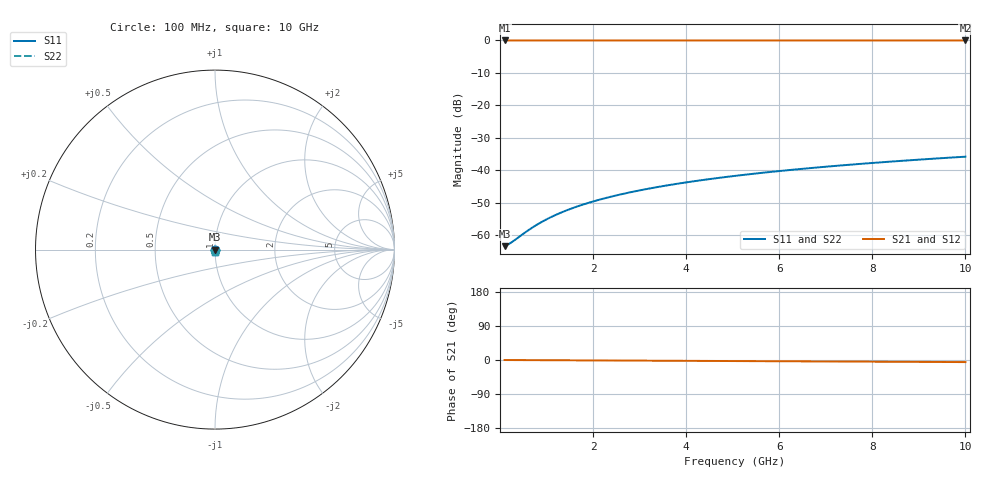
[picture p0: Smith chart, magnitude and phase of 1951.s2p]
# Hz S RI R 50.00
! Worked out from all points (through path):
!   100 points, 100 MHz to 10 GHz, reference 50 ohm
!   highest |S21| = -0.01 dB at 100 MHz (marker M1); lowest = 0.0 dB at 10 GHz (marker M2)
!   lowest |S11| = -63.4 dB at 100 MHz (marker M3), VSWR 1.00, Z = 50.1 - j0.0162 ohm
!   |S11| at or under -10 dB: start of sweep to end of sweep
!   |S22| runs from -63.4 to -35.8 dB; largest |S21 - S12| = 0
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1e8  0.000653 -0.000161  0.9993 -0.000964  0.9993 -0.000964  0.000653 -0.000161
2e8  0.000657 -0.000323  0.9993 -0.00193  0.9993 -0.00193  0.000657 -0.000323
3e8  0.000658 -0.000484  0.9993 -0.00289  0.9993 -0.00289  0.000658 -0.000484
6e8  0.00066 -0.000969  0.9993 -0.00579  0.9993 -0.00579  0.00066 -0.000969
7e8  0.000659 -0.00113  0.9993 -0.00675  0.9993 -0.00675  0.000659 -0.00113
8e8  0.000658 -0.00129  0.9993 -0.00771  0.9993 -0.00771  0.000658 -0.00129
1e9  0.000654 -0.00161  0.9993 -0.00964  0.9993 -0.00964  0.000654 -0.00161
1.2e9  0.000649 -0.00194  0.9992 -0.0116  0.9992 -0.0116  0.000649 -0.00194
1.4e9  0.000642 -0.00226  0.9992 -0.0135  0.9992 -0.0135  0.000642 -0.00226
1.6e9  0.000634 -0.00258  0.9992 -0.0154  0.9992 -0.0154  0.000634 -0.00258
1.8e9  0.000625 -0.00291  0.9991 -0.0174  0.9991 -0.0174  0.000625 -0.00291
2.1e9  0.000608 -0.00339  0.9991 -0.0203  0.9991 -0.0203  0.000608 -0.00339
2.5e9  0.000581 -0.00404  0.999 -0.0241  0.999 -0.0241  0.000581 -0.00404
2.9e9  0.000549 -0.00468  0.9989 -0.028  0.9989 -0.028  0.000549 -0.00468
3.4e9  0.000502 -0.00549  0.9987 -0.0328  0.9987 -0.0328  0.000502 -0.00549
4.2e9  0.000409 -0.00678  0.9984 -0.0405  0.9984 -0.0405  0.000409 -0.00678
5.1e9  0.000281 -0.00823  0.998 -0.0492  0.998 -0.0492  0.000281 -0.00823
5.9e9  0.000146 -0.00952  0.9976 -0.0569  0.9976 -0.0569  0.000146 -0.00952
6.7e9  -8.93e-06 -0.0108  0.9971 -0.0646  0.9971 -0.0646  -8.93e-06 -0.0108
7.5e9  -0.000184 -0.0121  0.9965 -0.0723  0.9965 -0.0723  -0.000184 -0.0121
8.4e9  -0.000405 -0.0135  0.9958 -0.081  0.9958 -0.081  -0.000405 -0.0135
1e10  -0.00086 -0.0161  0.9944 -0.0964  0.9944 -0.0964  -0.00086 -0.0161
